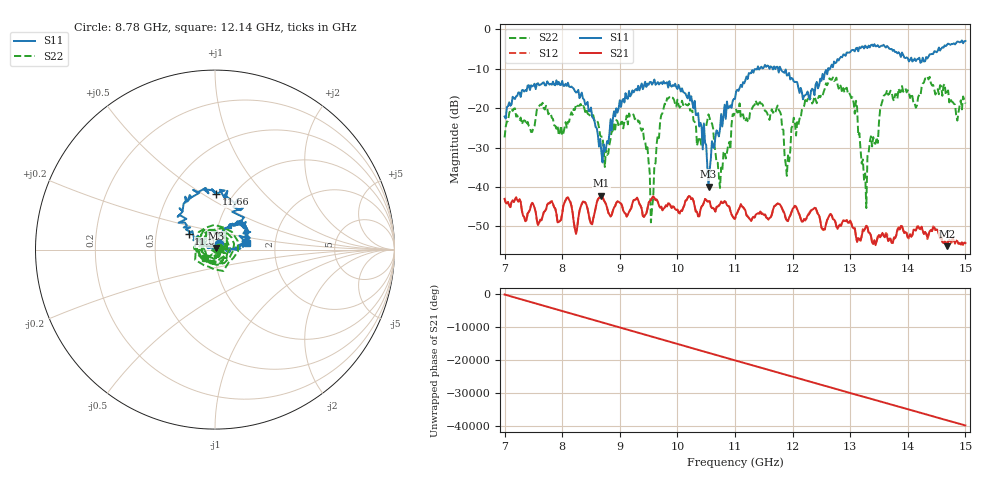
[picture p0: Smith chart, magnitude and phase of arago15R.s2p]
!Keysight Technologies,N5242B,MY47200105,A.14.00.23
!Date: Friday, April 26, 2024 11:22:39
!Correction: S11(C  2-Port  )
!S21(C  2-Port  )
!S12(C  2-Port  )
!S22(C  2-Port  )
!S2P File: Measurement: :
# Hz S  RI  R 50
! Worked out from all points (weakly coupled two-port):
!   401 points, 7 GHz to 15 GHz, reference 50 ohm
!   highest |S21| = -42.16 dB at 8.68 GHz (marker M1); lowest = -55.0 dB at 14.68 GHz (marker M2)
!   lowest |S11| = -39.9 dB at 10.54 GHz (marker M3), VSWR 1.02, Z = 50.7 + j0.702 ohm
!   |S11| at or under -10 dB: start of sweep to 11.38 GHz; 11.4149 GHz to 11.4313 GHz (16.4 MHz wide, 0.144 % of centre); 11.79 GHz to 12.62 GHz (824.7 MHz wide, 6.76 % of centre) (the widest 3 of 8)
!   |S22| runs from -49.0 to -12.0 dB; largest |S21 - S12| = 0.00024
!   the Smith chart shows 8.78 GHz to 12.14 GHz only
!   S11 on the Smith chart (normalised r, x): 8.78 GHz: 1.04, +0.07; 11.04 GHz: 0.73, +0.13; 11.66 GHz: 0.83, +0.57; 12.14 GHz: 1.43, +0.11
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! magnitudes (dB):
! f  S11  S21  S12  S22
! 7 GHz  -22.1  -43.0  -43.0  -27.4
! 8.34 GHz  -16.1  -44.3  -44.2  -19.8
! 8.68 GHz  -31.1  -42.2  -42.2  -27.3
! 8.78 GHz  -28.4  -45.3  -45.3  -31.9
! 9.26 GHz  -15.5  -43.2  -43.2  -22.8
! 9.56 GHz  -14.0  -42.8  -42.8  -45.4
! 9.68 GHz  -14.0  -44.7  -44.7  -27.6
! 9.86 GHz  -13.2  -44.2  -44.1  -17.2
! 10.26 GHz  -18.8  -42.9  -42.8  -20.7
! 10.54 GHz  -39.9  -43.6  -43.6  -21.6
! 10.74 GHz  -25.3  -44.3  -44.3  -40.2
! 11 GHz  -17.7  -48.1  -48.0  -20.7
! 11.04 GHz  -15.3  -46.5  -46.6  -21.1
! 11.66 GHz  -10.2  -45.7  -45.7  -21.2
! 11.9 GHz  -11.7  -48.5  -48.4  -37.2
! 12.14 GHz  -14.9  -48.1  -48.0  -22.8
! 12.34 GHz  -15.1  -45.7  -45.9  -18.8
! 12.96 GHz  -5.9  -49.0  -48.9  -16.3
! 13.24 GHz  -4.9  -51.0  -51.1  -38.1
! 13.68 GHz  -5.0  -53.1  -53.4  -16.4
! 14.68 GHz  -4.0  -55.0  -54.2  -15.9
! 15 GHz  -3.0  -54.2  -53.9  -18.8
